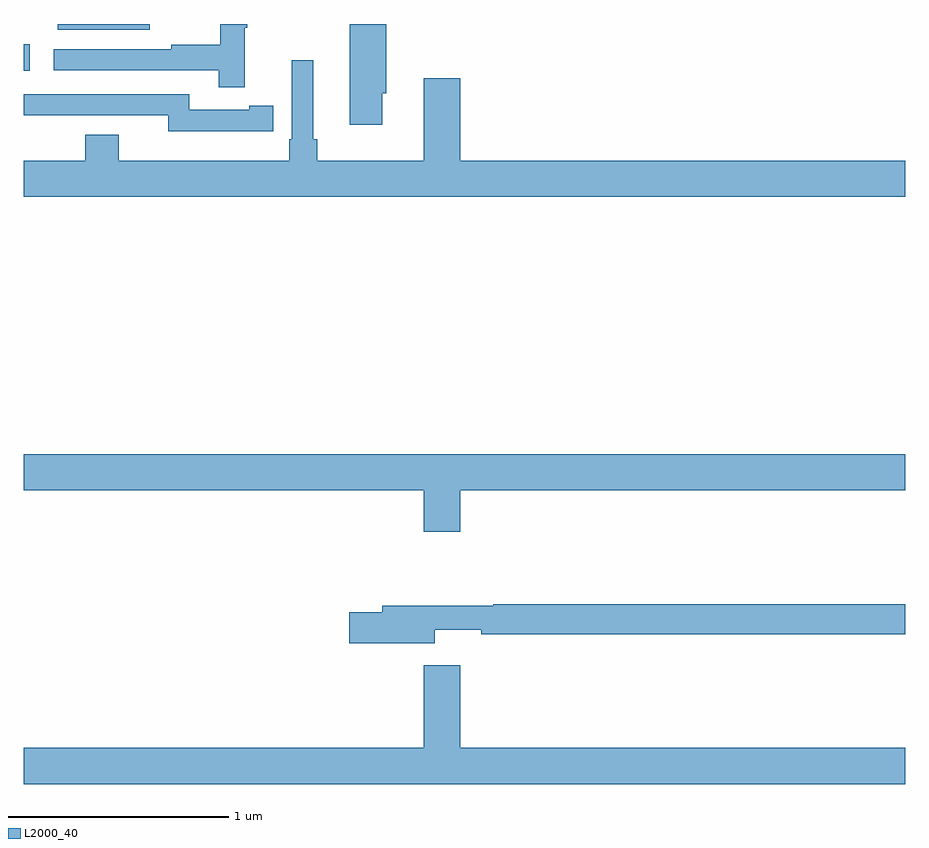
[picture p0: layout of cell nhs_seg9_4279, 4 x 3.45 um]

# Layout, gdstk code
import gdstk
lib = gdstk.Library(unit=1e-6, precision=1e-09)
def R(c, l, rs):  # rectangles x0, y0, x1, y1
    for r in rs: c.add(gdstk.rectangle(r[:2], r[2:], *l))
def P(c, l, *ps):  # polygons
    for p in ps: c.add(gdstk.Polygon(p, *l))
L2000_40 = (2000, 40)

nhs_seg9_4279 = lib.new_cell('nhs_seg9_4279')
R(nhs_seg9_4279, L2000_40, [(355,1234.287,355.027,1234.407), (355.154,1234.475,355.573,1234.5)])
P(nhs_seg9_4279, L2000_40, [(356.003,1234.483),(356.014,1234.483),(356.014,1234.5),(355.893,1234.5),(355.893,1234.406),(355.669,1234.406),(355.669,1234.386),(355.137,1234.386),(355.137,1234.29),(355.885,1234.29),(355.885,1234.212),(356.003,1234.212)],
  [(356.626,1234.185),(356.644,1234.185),(356.644,1234.5),(356.48,1234.5),(356.48,1234.044),(356.626,1234.044)],
  [(359,1233.88),(356.98,1233.88),(356.98,1234.255),(356.816,1234.255),(356.816,1233.88),(356.333,1233.88),(356.333,1233.976),(356.314,1233.976),(356.314,1234.336),(356.217,1234.336),(356.217,1233.976),(356.204,1233.976),(356.204,1233.88),(355.432,1233.88),(355.432,1233.997),(355.28,1233.997),(355.28,1233.88),(355,1233.88),(355,1233.716),(359,1233.716)],
  [(356.024,1234.014),(356.132,1234.014),(356.132,1234.13),(356.024,1234.13),(356.024,1234.11),(355.752,1234.11),(355.752,1234.182),(355,1234.182),(355,1234.085),(355.196,1234.085),(355.196,1234.086),(355.656,1234.086),(355.656,1234.013),(356.024,1234.013)],
  [(356.98,1232.384),(359,1232.384),(359,1232.548),(355,1232.548),(355,1232.384),(356.816,1232.384),(356.816,1232.196),(356.98,1232.196)],
  [(356.866,1231.751),(357.076,1231.751),(357.076,1231.732),(359,1231.732),(359,1231.868),(357.131,1231.868),(357.131,1231.861),(356.627,1231.861),(356.627,1231.832),(356.478,1231.832),(356.478,1231.69),(356.866,1231.69)],
  [(359,1231.216),(356.98,1231.216),(356.98,1231.591),(356.816,1231.591),(356.816,1231.216),(355,1231.216),(355,1231.052),(359,1231.052)])

lib.write_gds('nhs_seg9_4279.gds')
